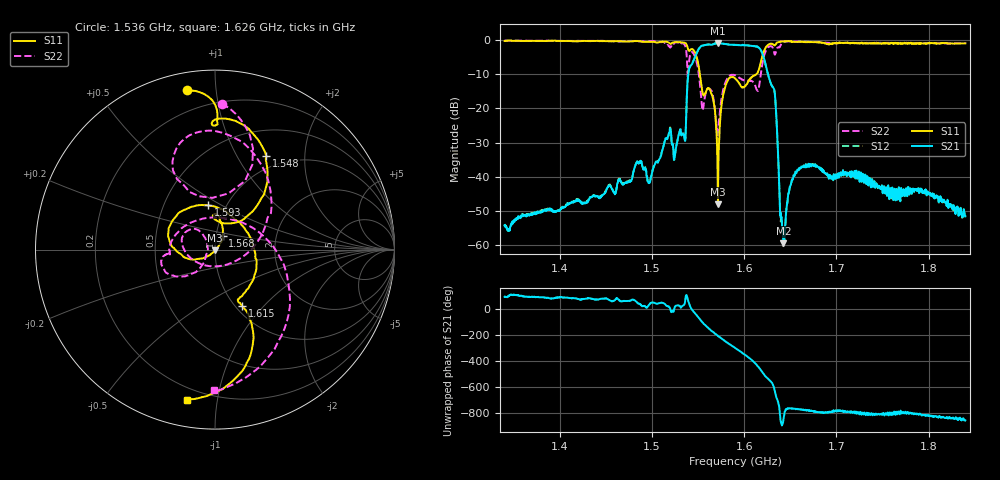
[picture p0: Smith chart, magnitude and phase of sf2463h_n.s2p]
!Agilent Technologies,E5070B,MY42401647,A.08.11
!Date: Wed Jan 24 15:42:56 2018
!Data & Calibration Information:
!Freq	S11:SOLT2(ON)	S21:SOLT2(ON)	S12:SOLT2(ON)	S22:SOLT2(ON)
# Hz S RI R 50
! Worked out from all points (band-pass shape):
!   1601 points, 1.34 GHz to 1.84 GHz, reference 50 ohm
!   highest |S21| = -0.90 dB at 1.572 GHz (marker M1); lowest = -59.5 dB at 1.643 GHz (marker M2)
!   |S21| within 3 dB of the highest: 1.548 GHz to 1.62 GHz (71.21 MHz wide, 4.5 % of centre)
!   lowest |S11| = -48.1 dB at 1.572 GHz (marker M3), VSWR 1.01, Z = 50 - j0.393 ohm
!   |S11| at or under -10 dB: 1.552 GHz to 1.613 GHz (61.53 MHz wide, 3.89 % of centre)
!   |S22| runs from -28.1 to -0.2 dB; largest |S21 - S12| = 0.047
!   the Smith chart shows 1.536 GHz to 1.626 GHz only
!   S11 on the Smith chart (normalised r, x): 1.536 GHz: 0.09, +0.84; 1.548 GHz: 0.83, +1.33; 1.568 GHz: 1.08, +0.16; 1.593 GHz: 0.82, +0.43; 1.615 GHz: 1.07, -0.77; 1.626 GHz: 0.14, -0.82
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1.34e9  -0.9515 -0.1509  -9.91e-05 0.00194  -0.000119 0.00205  -0.9457 -0.2556
1.423438e9  -0.9509 0.1272  0.00113 0.00393  0.00117 0.00396  -0.963 0.027
1.506875e9  -0.7134 0.5777  0.0124 0.0116  0.0126 0.0116  -0.755 0.5586
1.535938e9  -0.154 0.8869  0.0146 0.0301  0.0162 0.03  0.038 0.8125
1.540625e9  -0.0106 0.6915  0.3338 0.1986  0.3403 0.2003  -0.2372 0.4897
1.547812e9  0.286 0.522  0.4514 -0.414  0.4573 -0.415  0.2858 0.4195
1.555625e9  0.0528 0.1459  -0.2789 -0.7811  -0.2804 -0.7838  -0.0521 -0.0885
1.568438e9  0.0436 0.0758  -0.8779 0.1468  -0.8668 0.1339  -0.057 0.0691
1.571562e9  0.000336 -0.00393  -0.8005 0.4158  -0.795 0.3994  -0.0436 -0.0188
1.578438e9  -0.1832 -0.0316  -0.4021 0.7737  -0.4038 0.7701  -0.1579 -0.1445
1.59e9  -0.1451 0.2324  0.3848 0.7459  0.3828 0.7555  -0.2975 -0.0591
1.592812e9  -0.0393 0.2464  0.5549 0.6262  0.5438 0.6433  -0.2883 -0.0373
1.605e9  0.2304 -0.1095  0.8049 -0.1825  0.8075 -0.1835  -0.2516 -0.014
1.615312e9  0.1516 -0.3152  0.1067 -0.7688  0.0978 -0.7689  0.0594 0.1741
1.620625e9  0.1904 -0.6079  -0.4032 -0.4228  -0.4016 -0.4169  0.417 -0.3187
1.62625e9  -0.1551 -0.8371  -0.2981 -0.0109  -0.2963 -0.00452  -0.00828 -0.7834
1.633125e9  -0.4183 -0.7148  -0.0157 0.167  -0.0075 0.1687  -0.2945 -0.5307
1.6425e9  -0.7056 -0.6341  -0.000647 -0.000845  -0.000609 -0.000756  -0.5588 -0.7437
1.653438e9  -0.8271 -0.4358  0.00738 -0.00674  0.00759 -0.00709  -0.7813 -0.5366
1.673438e9  -0.9057 -0.2058  0.00745 -0.0132  0.00706 -0.0136  -0.8861 -0.2886
1.756875e9  -0.8611 0.1802  -0.000504 -0.00597  -0.000771 -0.00575  -0.8951 0.1105
1.84e9  -0.7916 0.4033  -0.00182 -0.00195  -0.00188 -0.00175  -0.8305 0.3203
